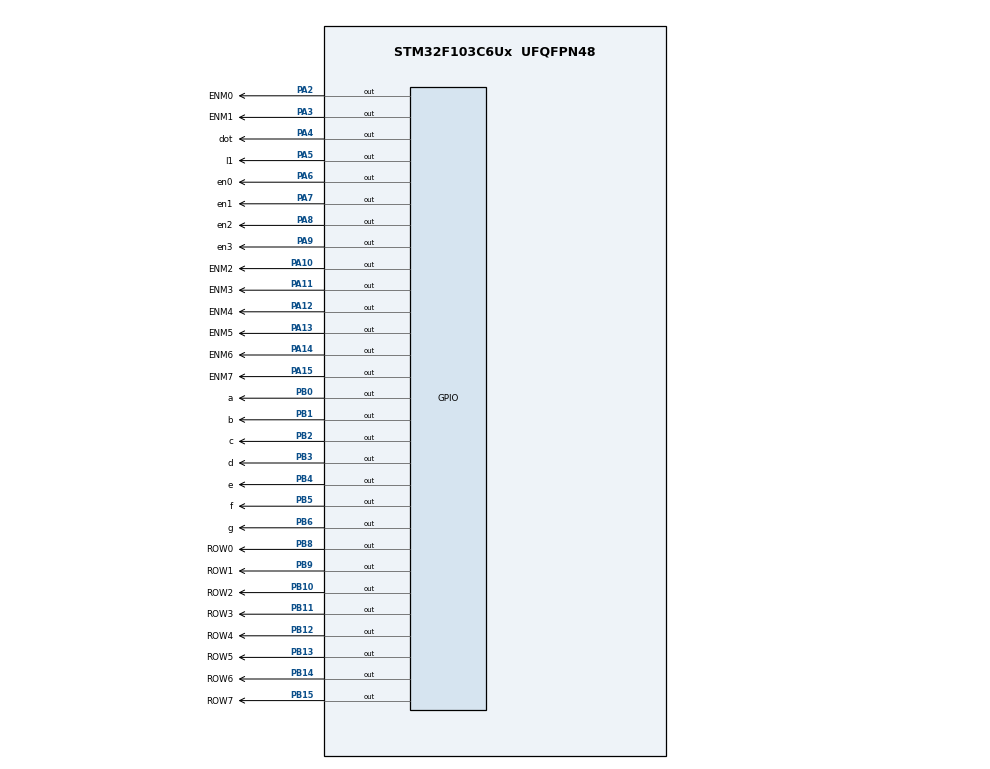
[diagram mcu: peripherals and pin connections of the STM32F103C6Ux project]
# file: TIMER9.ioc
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Mcu.Family=STM32F1
Mcu.Name=STM32F103C6Ux
Mcu.Package=UFQFPN48
NVIC.PriorityGroup=NVIC_PRIORITYGROUP_4
NVIC.TIM2_IRQn=true\:0\:0\:false\:false\:true\:true\:true
PA10.GPIO_Label=ENM2
PA10.Signal=GPIO_Output
PA11.GPIO_Label=ENM3
PA11.Signal=GPIO_Output
PA12.GPIO_Label=ENM4
PA12.Signal=GPIO_Output
PA13.GPIO_Label=ENM5
PA13.Signal=GPIO_Output
PA14.GPIO_Label=ENM6
PA14.Signal=GPIO_Output
PA15.GPIO_Label=ENM7
PA15.Signal=GPIO_Output
PA2.GPIO_Label=ENM0
PA2.Signal=GPIO_Output
PA3.GPIO_Label=ENM1
PA3.Signal=GPIO_Output
PA4.GPIO_Label=dot
PA4.Signal=GPIO_Output
PA5.GPIO_Label=l1
PA5.Signal=GPIO_Output
PA6.GPIO_Label=en0
PA6.Signal=GPIO_Output
PA7.GPIO_Label=en1
PA7.Signal=GPIO_Output
PA8.GPIO_Label=en2
PA8.Signal=GPIO_Output
PA9.GPIO_Label=en3
PA9.Signal=GPIO_Output
PB0.GPIO_Label=a
PB0.Signal=GPIO_Output
PB1.GPIO_Label=b
PB1.Signal=GPIO_Output
PB10.GPIO_Label=ROW2
PB10.Signal=GPIO_Output
PB11.GPIO_Label=ROW3
PB11.Signal=GPIO_Output
PB12.GPIO_Label=ROW4
PB12.Signal=GPIO_Output
PB13.GPIO_Label=ROW5
PB13.Signal=GPIO_Output
PB14.GPIO_Label=ROW6
PB14.Signal=GPIO_Output
PB15.GPIO_Label=ROW7
PB15.Signal=GPIO_Output
PB2.GPIO_Label=c
PB2.Signal=GPIO_Output
PB3.GPIO_Label=d
PB3.Signal=GPIO_Output
PB4.GPIO_Label=e
PB4.Signal=GPIO_Output
PB5.GPIO_Label=f
PB5.Signal=GPIO_Output
PB6.GPIO_Label=g
PB6.Signal=GPIO_Output
PB8.GPIO_Label=ROW0
PB8.Signal=GPIO_Output
PB9.GPIO_Label=ROW1
PB9.Signal=GPIO_Output
ProjectManager.HeapSize=0x200
ProjectManager.StackSize=0x400
ProjectManager.TargetToolchain=STM32CubeIDE
RCC.APB1Freq_Value=8000000
RCC.APB2Freq_Value=8000000
TIM2.Period=9
TIM2.Prescaler=7999
VP_SYS_VS_ND.Mode=No_Debug
VP_TIM2_VS_ClockSourceINT.Mode=Internal
board=custom

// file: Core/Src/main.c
/* USER CODE BEGIN Header */
/**
  ******************************************************************************
  * @file           : main.c
  * @brief          : Main program body
  ******************************************************************************
  * @attention
  *
  * <h2><center>&copy; Copyright (c) 2023 STMicroelectronics.
  * All rights reserved.</center></h2>
  *
  * This software component is licensed by ST under BSD 3-Clause license,
  * the "License"; You may not use this file except in compliance with the
  * License. You may obtain a copy of the License at:
  *                        opensource.org/licenses/BSD-3-Clause
  *
  ******************************************************************************
  */
/* USER CODE END Header */
#include "main.h"
#include"software_timer.h"

TIM_HandleTypeDef htim2;

void SystemClock_Config(void);
static void MX_GPIO_Init(void);
static void MX_TIM2_Init(void);
void display7SEG(int);
void update7SEG(int);
const int MAX_LED;
int index_led;
int led_buffer[4];
int hour, minute, second;
int index_led_matrix = 0;
uint16_t matrix_buffer[52] = {0x0000,
		0xF000,
		0x4800,0xF000,
		0x4400,0x4800,0xF000,
		0x4400,0x4400,0x4800,0xF000,
		0x4800,0x4400,0x4400,0x4800,0xF000,
		0xF000,0x4800,0x4400,0x4400,0x4800,0xF000,
		0x0000,0xF000,0x4800,0x4400,0x4400,0x4800,0xF000,
		0x0000,0x0000,0xF000,0x4800,0x4400,0x4400,0x4800,0xF000,
		0xF000,0x4800,0x4400,0x4400,0x4800,
		0xF000,0x4800,0x4400,0x4400,
		0xF000,0x4800,0x4400,
		0xF000,0x4800,
		0xF000
};
void updateClockBuffer();
void setTimer1(int);
void timer_run ();
void setTimer2();
void updateLEDMatrix(int);

int main(void)
{

  /* MCU Configuration--------------------------------------------------------*/

  /* Reset of all peripherals, Initializes the Flash interface and the Systick. */
  HAL_Init();

  /* Configure the system clock */
  SystemClock_Config();

  /* Initialize all configured peripherals */
  MX_GPIO_Init();
  MX_TIM2_Init();
  /* USER CODE BEGIN 2 */
  HAL_TIM_Base_Start_IT(&htim2);
  /* USER CODE END 2 */

  /* Infinite loop */
  /* USER CODE BEGIN WHILE */
   HAL_GPIO_WritePin(en0_GPIO_Port, en0_Pin, RESET);
   HAL_GPIO_WritePin(en1_GPIO_Port, en1_Pin, RESET);
   HAL_GPIO_WritePin(en2_GPIO_Port, en2_Pin, RESET);
   HAL_GPIO_WritePin(en3_GPIO_Port, en3_Pin, RESET);
   HAL_GPIO_WritePin(l1_GPIO_Port, l1_Pin, RESET);
   HAL_GPIO_WritePin(dot_GPIO_Port, dot_Pin, SET);

hour = 15 , minute = 8 , second = 50;
setTimer1(5);
setTimer2(5);
setTimer3(5);
setTimer4(5);
  while (1)
  {

	  if(timer1_flag == 1){
	  	  setTimer1(100);
	  	  HAL_GPIO_TogglePin(dot_GPIO_Port, dot_Pin);}

	  if(timer2_flag == 1){
	  	 setTimer2(50);
	  	 update7SEG(index_led++);}
	  if(index_led > 3) {index_led = 0;}

	  if(timer3_flag == 1) {
	  	setTimer3(100);
	  	second ++;
	  	if ( second >= 60){
	  		  second = 0;
	  		  minute ++;
	  		  	  }
	  	else if( minute >= 60){
	  		 minute = 0;
	  		 hour ++;
	  		  	  }
	  	else if( hour >=24){
	  		 hour = 0;
	  		  	  }
	  		updateClockBuffer();
	  	  }
	  if(timer4_flag == 1) {
		 updateLEDMatrix (index_led_matrix++);
		 if(index_led_matrix == 52) index_led_matrix = 0;
		 	 	 setTimer4(5);
	  }

    /* USER CODE END WHILE */

  }
}

void SystemClock_Config(void)
{
  RCC_OscInitTypeDef RCC_OscInitStruct = {0};
  RCC_ClkInitTypeDef RCC_ClkInitStruct = {0};

  /** Initializes the RCC Oscillators according to the specified parameters
  * in the RCC_OscInitTypeDef structure.
  */
  RCC_OscInitStruct.OscillatorType = RCC_OSCILLATORTYPE_HSI;
  RCC_OscInitStruct.HSIState = RCC_HSI_ON;
  RCC_OscInitStruct.HSICalibrationValue = RCC_HSICALIBRATION_DEFAULT;
  RCC_OscInitStruct.PLL.PLLState = RCC_PLL_NONE;
  if (HAL_RCC_OscConfig(&RCC_OscInitStruct) != HAL_OK)
  {
    Error_Handler();
  }
  /** Initializes the CPU, AHB and APB buses clocks
  */
  RCC_ClkInitStruct.ClockType = RCC_CLOCKTYPE_HCLK|RCC_CLOCKTYPE_SYSCLK
                              |RCC_CLOCKTYPE_PCLK1|RCC_CLOCKTYPE_PCLK2;
  RCC_ClkInitStruct.SYSCLKSource = RCC_SYSCLKSOURCE_HSI;
  RCC_ClkInitStruct.AHBCLKDivider = RCC_SYSCLK_DIV1;
  RCC_ClkInitStruct.APB1CLKDivider = RCC_HCLK_DIV1;
  RCC_ClkInitStruct.APB2CLKDivider = RCC_HCLK_DIV1;

  if (HAL_RCC_ClockConfig(&RCC_ClkInitStruct, FLASH_LATENCY_0) != HAL_OK)
  {
    Error_Handler();
  }
}

static void MX_TIM2_Init(void)
{

  TIM_ClockConfigTypeDef sClockSourceConfig = {0};
  TIM_MasterConfigTypeDef sMasterConfig = {0};

  htim2.Instance = TIM2;
  htim2.Init.Prescaler = 7999;
  htim2.Init.CounterMode = TIM_COUNTERMODE_UP;
  htim2.Init.Period = 9;
  htim2.Init.ClockDivision = TIM_CLOCKDIVISION_DIV1;
  htim2.Init.AutoReloadPreload = TIM_AUTORELOAD_PRELOAD_DISABLE;
  if (HAL_TIM_Base_Init(&htim2) != HAL_OK)
  {
    Error_Handler();
  }
  sClockSourceConfig.ClockSource = TIM_CLOCKSOURCE_INTERNAL;
  if (HAL_TIM_ConfigClockSource(&htim2, &sClockSourceConfig) != HAL_OK)
  {
    Error_Handler();
  }
  sMasterConfig.MasterOutputTrigger = TIM_TRGO_RESET;
  sMasterConfig.MasterSlaveMode = TIM_MASTERSLAVEMODE_DISABLE;
  if (HAL_TIMEx_MasterConfigSynchronization(&htim2, &sMasterConfig) != HAL_OK)
  {
    Error_Handler();
  }

}

static void MX_GPIO_Init(void)
{
  GPIO_InitTypeDef GPIO_InitStruct = {0};

  /* GPIO Ports Clock Enable */
  __HAL_RCC_GPIOA_CLK_ENABLE();
  __HAL_RCC_GPIOB_CLK_ENABLE();

  /*Configure GPIO pin Output Level */
  HAL_GPIO_WritePin(GPIOA, ENM0_Pin|ENM1_Pin|dot_Pin|l1_Pin
                          |en0_Pin|en1_Pin|en2_Pin|en3_Pin
                          |ENM2_Pin|ENM3_Pin|ENM4_Pin|ENM5_Pin
                          |ENM6_Pin|ENM7_Pin, GPIO_PIN_RESET);

  /*Configure GPIO pin Output Level */
  HAL_GPIO_WritePin(GPIOB, a_Pin|b_Pin|c_Pin|ROW2_Pin
                          |ROW3_Pin|ROW4_Pin|ROW5_Pin|ROW6_Pin
                          |ROW7_Pin|d_Pin|e_Pin|f_Pin
                          |g_Pin|ROW0_Pin|ROW1_Pin, GPIO_PIN_RESET);

  /*Configure GPIO pins : ENM0_Pin ENM1_Pin dot_Pin l1_Pin
                           en0_Pin en1_Pin en2_Pin en3_Pin
                           ENM2_Pin ENM3_Pin ENM4_Pin ENM5_Pin
                           ENM6_Pin ENM7_Pin */
  GPIO_InitStruct.Pin = ENM0_Pin|ENM1_Pin|dot_Pin|l1_Pin
                          |en0_Pin|en1_Pin|en2_Pin|en3_Pin
                          |ENM2_Pin|ENM3_Pin|ENM4_Pin|ENM5_Pin
                          |ENM6_Pin|ENM7_Pin;
  GPIO_InitStruct.Mode = GPIO_MODE_OUTPUT_PP;
  GPIO_InitStruct.Pull = GPIO_NOPULL;
  GPIO_InitStruct.Speed = GPIO_SPEED_FREQ_LOW;
  HAL_GPIO_Init(GPIOA, &GPIO_InitStruct);

  /*Configure GPIO pins : a_Pin b_Pin c_Pin ROW2_Pin
                           ROW3_Pin ROW4_Pin ROW5_Pin ROW6_Pin
                           ROW7_Pin d_Pin e_Pin f_Pin
                           g_Pin ROW0_Pin ROW1_Pin */
  GPIO_InitStruct.Pin = a_Pin|b_Pin|c_Pin|ROW2_Pin
                          |ROW3_Pin|ROW4_Pin|ROW5_Pin|ROW6_Pin
                          |ROW7_Pin|d_Pin|e_Pin|f_Pin
                          |g_Pin|ROW0_Pin|ROW1_Pin;
  GPIO_InitStruct.Mode = GPIO_MODE_OUTPUT_PP;
  GPIO_InitStruct.Pull = GPIO_NOPULL;
  GPIO_InitStruct.Speed = GPIO_SPEED_FREQ_LOW;
  HAL_GPIO_Init(GPIOB, &GPIO_InitStruct);

}

/* USER CODE BEGIN 4 */
void updateClockBuffer(){
	led_buffer[0] = hour / 10;
	led_buffer[1] = hour % 10;
	led_buffer[2] = minute / 10;
	led_buffer[3] = minute % 10;

}

 const int MAX_LED = 4;
 int index_led = 0;
 int led_buffer[4] = {1, 2, 3, 4};
 void update7SEG(int index){
	  switch (index){
	  case 0:
		  display7SEG(led_buffer[0]);
		  HAL_GPIO_WritePin(en0_GPIO_Port, en0_Pin, RESET);
		  HAL_GPIO_WritePin(en1_GPIO_Port, en1_Pin, SET);
		  HAL_GPIO_WritePin(en2_GPIO_Port, en2_Pin, SET);
		  HAL_GPIO_WritePin(en3_GPIO_Port, en3_Pin, SET);
		  break;
	  case 1:
		  display7SEG(led_buffer[1]);
		  HAL_GPIO_WritePin(en0_GPIO_Port, en0_Pin, SET);
		  HAL_GPIO_WritePin(en1_GPIO_Port, en1_Pin, RESET);
		  HAL_GPIO_WritePin(en2_GPIO_Port, en2_Pin, SET);
		  HAL_GPIO_WritePin(en3_GPIO_Port, en3_Pin, SET);
		  break;
	  case 2:
		  display7SEG(led_buffer[2]);
		  HAL_GPIO_WritePin(en0_GPIO_Port, en0_Pin, SET);
		  HAL_GPIO_WritePin(en1_GPIO_Port, en1_Pin, SET);
		  HAL_GPIO_WritePin(en2_GPIO_Port, en2_Pin, RESET);
		  HAL_GPIO_WritePin(en3_GPIO_Port, en3_Pin, SET);
		  break;
	  case 3:
		  display7SEG(led_buffer[3]);
		  HAL_GPIO_WritePin(en0_GPIO_Port, en0_Pin, SET);
		  HAL_GPIO_WritePin(en1_GPIO_Port, en1_Pin, SET);
		  HAL_GPIO_WritePin(en2_GPIO_Port, en2_Pin, SET);
		  HAL_GPIO_WritePin(en3_GPIO_Port, en3_Pin, RESET);
		  break;
	  default:
		  break;
	  }

}
 void display7SEG(int decimalVal) {
 	switch (decimalVal) {
 		case 0:
 			HAL_GPIO_WritePin(a_GPIO_Port, a_Pin, RESET);
 			HAL_GPIO_WritePin(b_GPIO_Port, b_Pin, RESET);
 			HAL_GPIO_WritePin(c_GPIO_Port, c_Pin, RESET);
 			HAL_GPIO_WritePin(d_GPIO_Port, d_Pin, RESET);
 			HAL_GPIO_WritePin(e_GPIO_Port, e_Pin, RESET);
 			HAL_GPIO_WritePin(f_GPIO_Port, f_Pin, RESET);
 			HAL_GPIO_WritePin(g_GPIO_Port, g_Pin, SET);
 			break;
 		case 1:
 			HAL_GPIO_WritePin(a_GPIO_Port, a_Pin, SET);
 			HAL_GPIO_WritePin(b_GPIO_Port, b_Pin, RESET);
 			HAL_GPIO_WritePin(c_GPIO_Port, c_Pin, RESET);
 			HAL_GPIO_WritePin(d_GPIO_Port, d_Pin, SET);
 			HAL_GPIO_WritePin(e_GPIO_Port, e_Pin, SET);
 			HAL_GPIO_WritePin(f_GPIO_Port, f_Pin, SET);
 			HAL_GPIO_WritePin(g_GPIO_Port, g_Pin, SET);
 			break;
 		case 2:
 			HAL_GPIO_WritePin(a_GPIO_Port, a_Pin, RESET);
 			HAL_GPIO_WritePin(b_GPIO_Port, b_Pin, RESET);
 			HAL_GPIO_WritePin(c_GPIO_Port, c_Pin, SET);
 			HAL_GPIO_WritePin(d_GPIO_Port, d_Pin, RESET);
 			HAL_GPIO_WritePin(e_GPIO_Port, e_Pin, RESET);
 			HAL_GPIO_WritePin(f_GPIO_Port, f_Pin, SET);
 			HAL_GPIO_WritePin(g_GPIO_Port, g_Pin, RESET);
 			break;
 		case 3:
 			HAL_GPIO_WritePin(a_GPIO_Port, a_Pin, RESET);
 			HAL_GPIO_WritePin(b_GPIO_Port, b_Pin, RESET);
 			HAL_GPIO_WritePin(c_GPIO_Port, c_Pin, RESET);
 			HAL_GPIO_WritePin(d_GPIO_Port, d_Pin, RESET);
 			HAL_GPIO_WritePin(e_GPIO_Port, e_Pin, SET);
 			HAL_GPIO_WritePin(f_GPIO_Port, f_Pin, SET);
 			HAL_GPIO_WritePin(g_GPIO_Port, g_Pin, RESET);
 			break;
 		case 4:
 			HAL_GPIO_WritePin(a_GPIO_Port, a_Pin, SET);
 			HAL_GPIO_WritePin(b_GPIO_Port, b_Pin, RESET);
 			HAL_GPIO_WritePin(c_GPIO_Port, c_Pin, RESET);
 			HAL_GPIO_WritePin(d_GPIO_Port, d_Pin, SET);
 			HAL_GPIO_WritePin(e_GPIO_Port, e_Pin, SET);
 			HAL_GPIO_WritePin(f_GPIO_Port, f_Pin, RESET);
 			HAL_GPIO_WritePin(g_GPIO_Port, g_Pin, RESET);
 			break;
 		case 5:
 			HAL_GPIO_WritePin(a_GPIO_Port, a_Pin, RESET);
 			HAL_GPIO_WritePin(b_GPIO_Port, b_Pin, SET);
 			HAL_GPIO_WritePin(c_GPIO_Port, c_Pin, RESET);
 			HAL_GPIO_WritePin(d_GPIO_Port, d_Pin, RESET);
 			HAL_GPIO_WritePin(e_GPIO_Port, e_Pin, SET);
 			HAL_GPIO_WritePin(f_GPIO_Port, f_Pin, RESET);
 			HAL_GPIO_WritePin(g_GPIO_Port, g_Pin, RESET);
 			break;
 		case 6:
 			HAL_GPIO_WritePin(a_GPIO_Port, a_Pin, RESET);
 			HAL_GPIO_WritePin(b_GPIO_Port, b_Pin, SET);
 			HAL_GPIO_WritePin(c_GPIO_Port, c_Pin, RESET);
 			HAL_GPIO_WritePin(d_GPIO_Port, d_Pin, RESET);
 			HAL_GPIO_WritePin(e_GPIO_Port, e_Pin, RESET);
 			HAL_GPIO_WritePin(f_GPIO_Port, f_Pin, RESET);
 			HAL_GPIO_WritePin(g_GPIO_Port, g_Pin, RESET);
 			break;
 		case 7:
 			HAL_GPIO_WritePin(a_GPIO_Port, a_Pin, RESET);
 			HAL_GPIO_WritePin(b_GPIO_Port, b_Pin, RESET);
 			HAL_GPIO_WritePin(c_GPIO_Port, c_Pin, RESET);
 			HAL_GPIO_WritePin(d_GPIO_Port, d_Pin, SET);
 			HAL_GPIO_WritePin(e_GPIO_Port, e_Pin, SET);
 			HAL_GPIO_WritePin(f_GPIO_Port, f_Pin, SET);
 			HAL_GPIO_WritePin(g_GPIO_Port, g_Pin, SET);
 			break;
 		case 8:
 			HAL_GPIO_WritePin(a_GPIO_Port, a_Pin, RESET);
 			HAL_GPIO_WritePin(b_GPIO_Port, b_Pin, RESET);
 			HAL_GPIO_WritePin(c_GPIO_Port, c_Pin, RESET);
 			HAL_GPIO_WritePin(d_GPIO_Port, d_Pin, RESET);
 			HAL_GPIO_WritePin(e_GPIO_Port, e_Pin, RESET);
 			HAL_GPIO_WritePin(f_GPIO_Port, f_Pin, RESET);
 			HAL_GPIO_WritePin(g_GPIO_Port, g_Pin, RESET);
 			break;
 		case 9:
 			HAL_GPIO_WritePin(a_GPIO_Port, a_Pin, RESET);
 			HAL_GPIO_WritePin(b_GPIO_Port, b_Pin, RESET);
 			HAL_GPIO_WritePin(c_GPIO_Port, c_Pin, RESET);
 			HAL_GPIO_WritePin(d_GPIO_Port, d_Pin, RESET);
 			HAL_GPIO_WritePin(e_GPIO_Port, e_Pin, SET);
 			HAL_GPIO_WritePin(f_GPIO_Port, f_Pin, RESET);
 			HAL_GPIO_WritePin(g_GPIO_Port, g_Pin, RESET);
 			break;
 		default:
 			break;
 		}

 }
 void rstMatrix(){
 	HAL_GPIO_WritePin(GPIOB, ROW2_Pin|ROW3_Pin|ROW4_Pin|ROW5_Pin|ROW6_Pin|ROW7_Pin|ROW0_Pin|ROW1_Pin, GPIO_PIN_SET);
 	HAL_GPIO_WritePin(GPIOA,ENM0_Pin|ENM1_Pin|ENM2_Pin|ENM3_Pin|ENM4_Pin|ENM5_Pin|ENM6_Pin|ENM7_Pin, GPIO_PIN_SET);
 }
 void updateLEDMatrix (int index ){
	rstMatrix();
	HAL_GPIO_WritePin(GPIOB,matrix_buffer[index], GPIO_PIN_RESET);
	switch ( index ){
	case 0:
		break;
	case 1:
		HAL_GPIO_WritePin(GPIOA,ENM0_Pin, GPIO_PIN_RESET);
		break;
	case 2:
		HAL_GPIO_WritePin(GPIOA,ENM0_Pin, GPIO_PIN_RESET);
		break;
	case 3:
		HAL_GPIO_WritePin(GPIOA,ENM1_Pin, GPIO_PIN_RESET);
		break;
	case 4:
		HAL_GPIO_WritePin(GPIOA,ENM0_Pin, GPIO_PIN_RESET);
		break;
	case 5:
		HAL_GPIO_WritePin(GPIOA,ENM1_Pin, GPIO_PIN_RESET);
		break;
	case 6:
		HAL_GPIO_WritePin(GPIOA,ENM2_Pin, GPIO_PIN_RESET);
		break;
	case 7:
		HAL_GPIO_WritePin(GPIOA,ENM0_Pin, GPIO_PIN_RESET);
		break;
	case 8:
		HAL_GPIO_WritePin(GPIOA,ENM1_Pin, GPIO_PIN_RESET);
		break;
	case 9:
		HAL_GPIO_WritePin(GPIOA,ENM2_Pin, GPIO_PIN_RESET);
		break;
	case 10:
		HAL_GPIO_WritePin(GPIOA,ENM3_Pin, GPIO_PIN_RESET);
		break;
	case 11:
		HAL_GPIO_WritePin(GPIOA,ENM0_Pin, GPIO_PIN_RESET);
		break;
	case 12:
		HAL_GPIO_WritePin(GPIOA,ENM1_Pin, GPIO_PIN_RESET);
		break;
	case 13:
		HAL_GPIO_WritePin(GPIOA,ENM2_Pin, GPIO_PIN_RESET);
		break;
	case 14:
		HAL_GPIO_WritePin(GPIOA,ENM3_Pin, GPIO_PIN_RESET);
		break;
	case 15:
		HAL_GPIO_WritePin(GPIOA,ENM4_Pin, GPIO_PIN_RESET);
		break;
	case 16:
		HAL_GPIO_WritePin(GPIOA,ENM0_Pin, GPIO_PIN_RESET);
		break;
	case 17:
		HAL_GPIO_WritePin(GPIOA,ENM1_Pin, GPIO_PIN_RESET);
		break;
	case 18:
		HAL_GPIO_WritePin(GPIOA,ENM2_Pin, GPIO_PIN_RESET);
		break;
	case 19:
		HAL_GPIO_WritePin(GPIOA,ENM3_Pin, GPIO_PIN_RESET);
		break;
	case 20:
		HAL_GPIO_WritePin(GPIOA,ENM4_Pin, GPIO_PIN_RESET);
		break;
	case 21:
		HAL_GPIO_WritePin(GPIOA,ENM5_Pin, GPIO_PIN_RESET);
		break;
	case 22:
		HAL_GPIO_WritePin(GPIOA,ENM0_Pin, GPIO_PIN_RESET);
		break;
	case 23:
		HAL_GPIO_WritePin(GPIOA,ENM1_Pin, GPIO_PIN_RESET);
		break;
	case 24:
		HAL_GPIO_WritePin(GPIOA,ENM2_Pin, GPIO_PIN_RESET);
		break;
	case 25:
		HAL_GPIO_WritePin(GPIOA,ENM3_Pin, GPIO_PIN_RESET);
		break;
	case 26:
		HAL_GPIO_WritePin(GPIOA,ENM4_Pin, GPIO_PIN_RESET);
		break;
	case 27:
		HAL_GPIO_WritePin(GPIOA,ENM5_Pin, GPIO_PIN_RESET);
		break;
	case 28:
		HAL_GPIO_WritePin(GPIOA,ENM6_Pin, GPIO_PIN_RESET);
		break;
	case 29:
		HAL_GPIO_WritePin(GPIOA,ENM0_Pin, GPIO_PIN_RESET);
		break;
	case 30:
		HAL_GPIO_WritePin(GPIOA,ENM1_Pin, GPIO_PIN_RESET);
		break;
	case 31:
		HAL_GPIO_WritePin(GPIOA,ENM2_Pin, GPIO_PIN_RESET);
		break;
	case 32:
		HAL_GPIO_WritePin(GPIOA,ENM3_Pin, GPIO_PIN_RESET);
		break;
	case 33:
		HAL_GPIO_WritePin(GPIOA,ENM4_Pin, GPIO_PIN_RESET);
		break;
	case 34:
		HAL_GPIO_WritePin(GPIOA,ENM5_Pin, GPIO_PIN_RESET);
		break;
	case 35:
		HAL_GPIO_WritePin(GPIOA,ENM6_Pin, GPIO_PIN_RESET);
		break;
	case 36:
		HAL_GPIO_WritePin(GPIOA,ENM7_Pin, GPIO_PIN_RESET);
		break;
	case 37:
		HAL_GPIO_WritePin(GPIOA,ENM3_Pin, GPIO_PIN_RESET);
		break;
	case 38:
		HAL_GPIO_WritePin(GPIOA,ENM4_Pin, GPIO_PIN_RESET);
		break;
	case 39:
		HAL_GPIO_WritePin(GPIOA,ENM5_Pin, GPIO_PIN_RESET);
		break;
	case 40:
		HAL_GPIO_WritePin(GPIOA,ENM6_Pin, GPIO_PIN_RESET);
		break;
	case 41:
		HAL_GPIO_WritePin(GPIOA,ENM7_Pin, GPIO_PIN_RESET);
		break;
	case 42:
		HAL_GPIO_WritePin(GPIOA,ENM4_Pin, GPIO_PIN_RESET);
		break;
	case 43:
		HAL_GPIO_WritePin(GPIOA,ENM5_Pin, GPIO_PIN_RESET);
		break;
	case 44:
		HAL_GPIO_WritePin(GPIOA,ENM6_Pin, GPIO_PIN_RESET);
		break;
	case 45:
		HAL_GPIO_WritePin(GPIOA,ENM7_Pin, GPIO_PIN_RESET);
		break;
	case 46:
		HAL_GPIO_WritePin(GPIOA,ENM5_Pin, GPIO_PIN_RESET);
		break;
	case 47:
		HAL_GPIO_WritePin(GPIOA,ENM6_Pin, GPIO_PIN_RESET);
		break;
	case 48:
		HAL_GPIO_WritePin(GPIOA,ENM7_Pin, GPIO_PIN_RESET);
		break;
	case 49:
		HAL_GPIO_WritePin(GPIOA,ENM6_Pin, GPIO_PIN_RESET);
		break;
	case 50:
		HAL_GPIO_WritePin(GPIOA,ENM7_Pin, GPIO_PIN_RESET);
		break;
	case 51:
		HAL_GPIO_WritePin(GPIOA,ENM7_Pin, GPIO_PIN_RESET);
		break;
	default:
		break;
	}
}

void HAL_TIM_PeriodElapsedCallback(TIM_HandleTypeDef *htim)
{
	timer1Run();
	timer2Run();
	timer3Run();
	timer4Run();
}
/* USER CODE END 4 */

void Error_Handler(void)
{
  __disable_irq();
  while (1)
  {
  }
}

/************************ (C) COPYRIGHT STMicroelectronics *****END OF FILE****/
